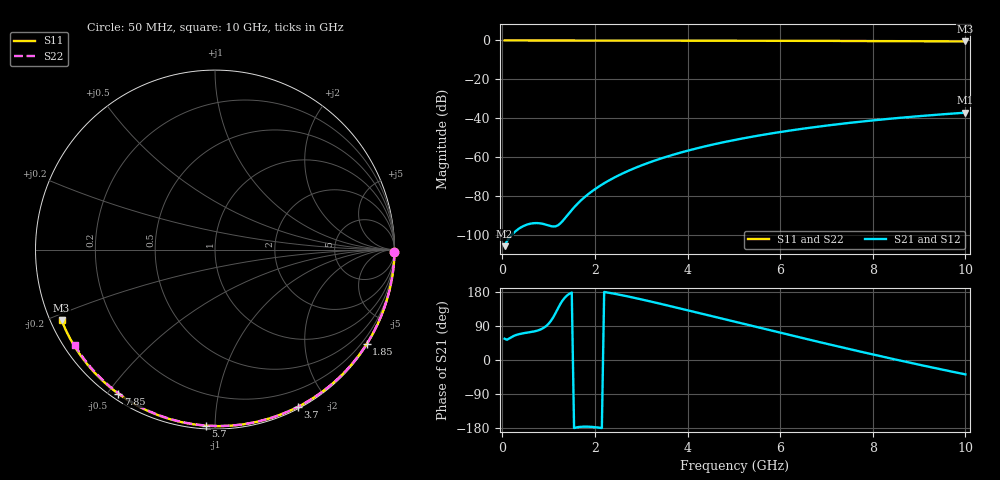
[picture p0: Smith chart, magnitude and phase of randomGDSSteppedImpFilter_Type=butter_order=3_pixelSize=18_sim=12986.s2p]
! freq	dB(S11)	phase(S11)	dB(S12)	phase(S12)
!  dB(S21)	phase(S21)	dB(S22)	phase(S22)
!S-par simulation data
#  GHz  S  DB  R 50
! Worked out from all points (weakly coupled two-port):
!   200 points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, 50 MHz to 10 GHz, reference 50 ohm
!   highest |S21| = -37.15 dB at 10 GHz (marker M1); lowest = -105.8 dB at 50 MHz (marker M2)
!   lowest |S11| = -0.5 dB at 10 GHz (marker M3), VSWR 32.79, Z = 1.6 - j10.9 ohm
!   |S11| at or under -10 dB: nowhere
!   |S22| runs from -0.5 to 0.0 dB; largest |S21 - S12| = 0
!   S11 on the Smith chart (normalised r, x): 50 MHz: open; 1.85 GHz: 0.03, -3.49; 3.7 GHz: 0.02, -1.65; 5.7 GHz: 0.02, -0.95; 7.85 GHz: 0.02, -0.53; 10 GHz: 0.03, -0.22
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0.05  -0.00 -0.9  -105.83 56.2  -105.83 56.2  -0.00 -0.8
0.45  -0.01 -7.9  -95.55 70.4  -95.55 70.4  -0.01 -7.5
0.9  -0.02 -15.7  -94.48 85.3  -94.48 85.3  -0.02 -14.8
1.75  -0.04 -30.3  -81.18 -175.9  -81.18 -175.9  -0.04 -28.6
1.8  -0.04 -31.1  -80.15 -175.8  -80.15 -175.8  -0.04 -29.4
1.85  -0.04 -32.0  -79.18 -175.9  -79.18 -175.9  -0.04 -30.2
2  -0.04 -34.5  -76.52 -177.3  -76.52 -177.3  -0.04 -32.5
2.15  -0.05 -37.0  -74.18 -179.5  -74.18 -179.5  -0.04 -34.9
2.5  -0.05 -42.9  -69.55 173.0  -69.55 173.0  -0.05 -40.4
2.9  -0.06 -49.4  -65.27 162.8  -65.27 162.8  -0.06 -46.7
3.4  -0.08 -57.5  -60.93 148.8  -60.93 148.8  -0.07 -54.3
3.7  -0.08 -62.3  -58.71 140.1  -58.71 140.1  -0.08 -58.8
4.35  -0.10 -72.5  -54.63 120.9  -54.63 120.9  -0.10 -68.5
5.05  -0.13 -83.2  -51.04 100.0  -51.04 100.0  -0.12 -78.5
5.7  -0.16 -92.9  -48.26 80.7  -48.26 80.7  -0.15 -87.7
6.2  -0.18 -100.2  -46.39 66.1  -46.39 66.1  -0.17 -94.5
6.7  -0.21 -107.4  -44.72 51.5  -44.72 51.5  -0.20 -101.3
7.25  -0.25 -115.3  -43.08 35.8  -43.08 35.8  -0.23 -108.6
7.85  -0.29 -123.8  -41.50 18.9  -41.50 18.9  -0.27 -116.6
8.35  -0.34 -130.9  -40.32 5.1  -40.32 5.1  -0.31 -123.2
9.2  -0.43 -143.3  -38.56 -17.6  -38.56 -17.6  -0.39 -134.5
10  -0.53 -155.3  -37.15 -37.9  -37.15 -37.9  -0.49 -145.7
